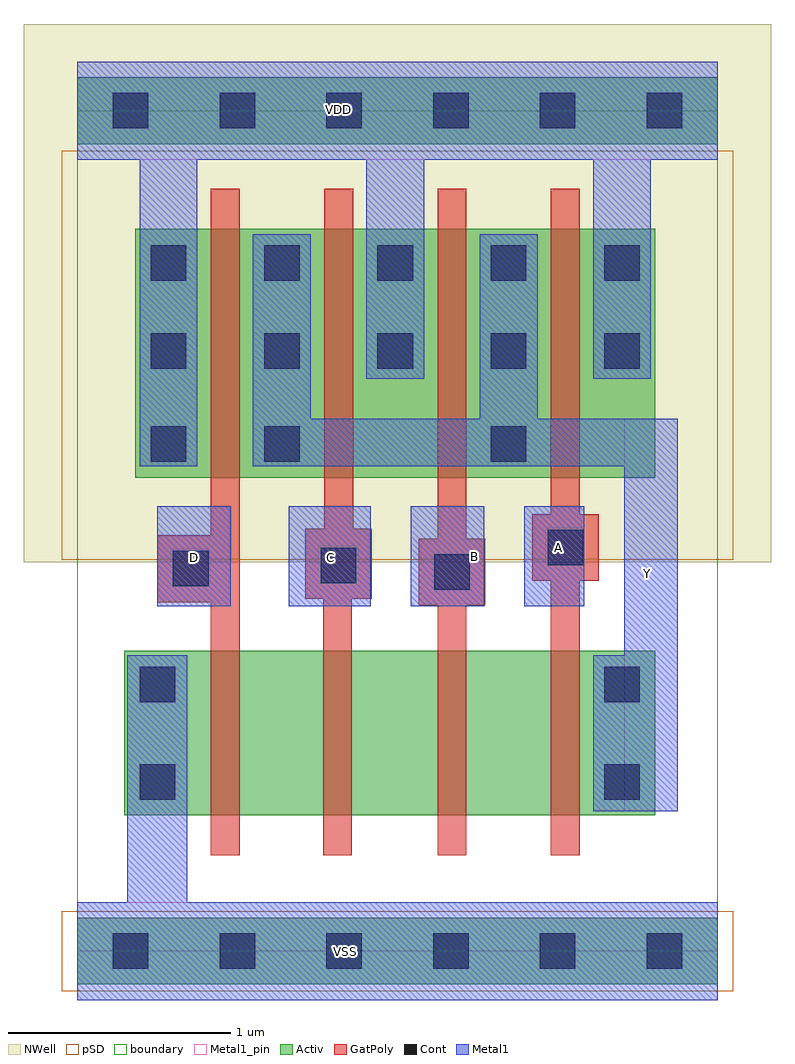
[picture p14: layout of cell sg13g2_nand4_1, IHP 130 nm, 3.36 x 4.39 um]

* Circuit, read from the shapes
.subckt sg13g2_nand4_1 A B C D VDD VSS Y
XM1 n1 D VSS VSS sg13_lv_nmos w=0.74u l=0.13u
XM2 n2 C n1 VSS sg13_lv_nmos w=0.74u l=0.13u
XM3 n3 B n2 VSS sg13_lv_nmos w=0.74u l=0.13u
XM4 Y A n3 VSS sg13_lv_nmos w=0.74u l=0.13u
XM5 Y D VDD VDD sg13_lv_pmos w=1.12u l=0.13u
XM6 VDD C Y VDD sg13_lv_pmos w=1.12u l=0.13u
XM7 Y B VDD VDD sg13_lv_pmos w=1.12u l=0.13u
XM8 VDD A Y VDD sg13_lv_pmos w=1.12u l=0.13u
.ends

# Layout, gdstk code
import gdstk
lib = gdstk.Library(unit=1e-6, precision=1e-09)
def R(c, l, rs):  # rectangles x0, y0, x1, y1
    for r in rs: c.add(gdstk.rectangle(r[:2], r[2:], *l))
def A(c, l, x, y, w, h, nx, ny, dx, dy):  # array of equal rectangles
    R(c, l, [(x+i*dx, y+j*dy, x+i*dx+w, y+j*dy+h) for i in range(nx) for j in range(ny)])
def P(c, l, *ps):  # polygons
    for p in ps: c.add(gdstk.Polygon(p, *l))
Activ = (1, 0)
GatPoly = (5, 0)
Cont = (6, 0)
Metal1 = (8, 0)
Metal1_pin = (8, 2)
pSD = (14, 0)
NWell = (31, 0)
boundary = (189, 4)

sg13g2_nand4_1 = lib.new_cell('sg13g2_nand4_1')
R(sg13g2_nand4_1, Activ, [(0,-0.15,2.88,0.15), (0.21,0.61,2.6,1.35), (0.26,2.13,2.6,3.25), (0,3.63,2.88,3.93)])
P(sg13g2_nand4_1, GatPoly, [(1.62,0.43),(1.62,1.555),(1.535,1.555),(1.535,1.855),(1.62,1.855),(1.62,3.43),(1.75,3.43),(1.75,1.855),(1.835,1.855),(1.835,1.555),(1.75,1.555),(1.75,0.43)],
  [(2.13,0.43),(2.13,1.665),(2.045,1.665),(2.045,1.965),(2.13,1.965),(2.13,3.43),(2.26,3.43),(2.26,1.965),(2.345,1.965),(2.345,1.665),(2.26,1.665),(2.26,0.43)],
  [(1.105,0.43),(1.105,1.585),(1.025,1.585),(1.025,1.9),(1.11,1.9),(1.11,3.43),(1.24,3.43),(1.24,1.9),(1.325,1.9),(1.325,1.585),(1.235,1.585),(1.235,0.43)],
  [(0.6,0.43),(0.6,1.57),(0.36,1.57),(0.36,1.87),(0.6,1.87),(0.6,3.43),(0.73,3.43),(0.73,0.43)])
A(sg13g2_nand4_1, Cont, 0.16, -0.08, 0.16, 0.16, 6, 2, 0.48, 3.78)
A(sg13g2_nand4_1, Cont, 0.33, 2.62, 0.16, 0.16, 5, 2, 0.51, 0.395)
R(sg13g2_nand4_1, Cont, [(0.28,0.68,0.44,0.84), (2.37,0.68,2.53,0.84), (0.28,1.12,0.44,1.28), (2.37,1.12,2.53,1.28), (1.605,1.625,1.765,1.785), (0.43,1.64,0.59,1.8), (1.095,1.655,1.255,1.815), (2.115,1.735,2.275,1.895), (0.33,2.2,0.49,2.36), (0.84,2.2,1,2.36), (1.86,2.2,2.02,2.36)])
R(sg13g2_nand4_1, Metal1, [(0.36,1.55,0.69,2), (0.95,1.55,1.32,2), (1.5,1.55,1.83,2), (2.01,1.55,2.28,2)])
P(sg13g2_nand4_1, Metal1, [(0,-0.22),(0,0.22),(0.225,0.22),(0.225,1.33),(0.495,1.33),(0.495,0.22),(2.88,0.22),(2.88,-0.22)],
  [(2.32,0.63),(2.32,1.33),(2.46,1.33),(2.46,2.18),(0.79,2.18),(0.79,3.225),(1.05,3.225),(1.05,2.395),(1.81,2.395),(1.81,3.225),(2.07,3.225),(2.07,2.395),(2.7,2.395),(2.7,0.63)],
  [(0.28,2.18),(0.28,3.56),(0,3.56),(0,4),(2.88,4),(2.88,3.56),(2.58,3.56),(2.58,2.575),(2.32,2.575),(2.32,3.56),(1.56,3.56),(1.56,2.575),(1.3,2.575),(1.3,3.56),(0.54,3.56),(0.54,2.18)])
R(sg13g2_nand4_1, Metal1_pin, [(0,-0.22,2.88,0.22), (2.46,0.63,2.7,2.395), (0.36,1.55,0.69,2), (0.95,1.55,1.32,2), (1.5,1.55,1.83,2), (2.01,1.55,2.28,2), (0,3.56,2.88,4)])
R(sg13g2_nand4_1, pSD, [(-0.07,-0.18,2.95,0.18), (-0.07,1.76,2.95,3.6)])
R(sg13g2_nand4_1, NWell, [(-0.24,1.75,3.12,4.17)])
R(sg13g2_nand4_1, boundary, [(0,0,2.88,3.78)])
sg13g2_nand4_1.add(gdstk.Label('VDD', (1.175,3.785), layer=8, texttype=25))
sg13g2_nand4_1.add(gdstk.Label('Y', (2.565,1.7), layer=8, texttype=25))
sg13g2_nand4_1.add(gdstk.Label('B', (1.785,1.775), layer=8, texttype=25))
sg13g2_nand4_1.add(gdstk.Label('C', (1.14,1.77), layer=8, texttype=25))
sg13g2_nand4_1.add(gdstk.Label('VSS', (1.205,0), layer=8, texttype=25))
sg13g2_nand4_1.add(gdstk.Label('A', (2.165,1.815), layer=8, texttype=25))
sg13g2_nand4_1.add(gdstk.Label('D', (0.525,1.77), layer=8, texttype=25))

lib.write_gds('sg13g2_nand4_1.gds')
